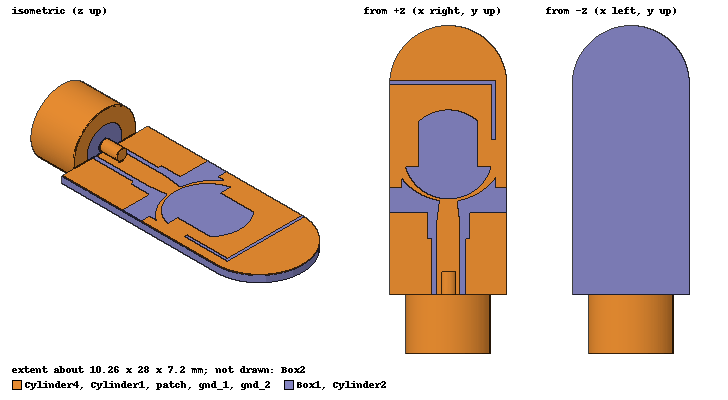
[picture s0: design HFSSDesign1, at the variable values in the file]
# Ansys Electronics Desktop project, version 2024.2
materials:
  vacuum: permittivity=1
  copper: permeability=0.999991 conductivity=58000000
  FR4_epoxy: permittivity=4.4 dielectric_loss_tangent=0.02
  Teflon (tm): permittivity=2.1 dielectric_loss_tangent=0.001

design HFSSDesign1 (HFSS, HFSS Modal Network, model units mm)
options: Save_Adaptive_support_files
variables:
  l = 9mm
  d = 0.3mm
  h = -5mm
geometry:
  Box1 [FR4_epoxy] = box(corner=(-5mm, -9mm, 0mm), size=(10mm, 18mm, 0.8mm))
  Cylinder6 = cylinder(axis=Z, base_centre=(0mm, 9mm, 0mm), radius=5mm, height=0.8mm)
  Cylinder4 [copper] = cylinder(axis=Y, base_centre=(0mm, -9mm, 1.4mm), radius=3.6mm, height=-5mm)
  Cylinder5 = cylinder(axis=Y, base_centre=(0mm, -9mm, 1.4mm), radius=2.01mm, height=-5mm)
  Cylinder1 [copper] = cylinder(axis=Y, base_centre=(0mm, -7mm, 1.4mm), radius=0.6mm, height=-7mm)
  Cylinder2 [Teflon (tm)] = cylinder(axis=Y, base_centre=(0mm, -9mm, 1.4mm), radius=2.01mm, height=-5mm)
  Cylinder3 = cylinder(axis=Y, base_centre=(0mm, -9mm, 1.4mm), radius=0.6mm, height=-5mm)
  Box2 [vacuum] = box(corner=(-30.5mm, -24mm, -25mm), size=(61mm, 68mm, 51.6mm))
  Cylinder4.subtract(Cylinder5)
  Box1.unite(Cylinder6)
  Cylinder2.subtract(Cylinder3)
  gnd_1 = rectangle(corner=(-5.5mm, -9mm, 0.8mm), x_size=4.05mm, y_size=7mm)
  Rectangle1 = rectangle(corner=(-1.2mm, -1.7mm, 0.8mm), x_size=-0.6mm, y_size=-2.5mm)
  Rectangle4 = rectangle(corner=(-5.5mm, -1.7mm, 0.8mm), x_size=0.5mm, y_size=-7.3mm)
  gnd_2 = rectangle(corner=(5.5mm, -9mm, 0.8mm), x_size=-4.05mm, y_size=7mm)
  Rectangle2 = rectangle(corner=(1.2mm, -1.7mm, 0.8mm), x_size=0.6mm, y_size=-2.5mm)
  Rectangle5 = rectangle(corner=(5.5mm, -1.7mm, 0.8mm), x_size=-0.5mm, y_size=-7.3mm)
  gnd_1.subtract(Rectangle1)
  gnd_1.subtract(Rectangle4)
  gnd_2.subtract(Rectangle2)
  gnd_2.subtract(Rectangle5)
  Circle4 = circle(normal=Y, centre=(0mm, -14mm, 1.4mm), radius=2.01mm)
  Circle5 = circle(normal=Y, centre=(0mm, -14mm, 1.4mm), radius=0.6mm)
  Circle4.subtract(Circle5)
  patch = rectangle(corner=(-1mm, -9mm, 0.8mm), x_size=2mm, y_size=9mm)
  Circle1 = circle(normal=Z, centre=(0mm, 4mm, 0.8mm), radius=5mm)
  Circle3 = circle(normal=Z, centre=(0mm, 3mm, 0.8mm), radius=3.8mm)
  Rectangle6 = rectangle(corner=(-5mm, 9mm, 0.8mm), x_size=2.5mm, y_size=-7mm)
  Rectangle7 = rectangle(corner=(5mm, 9mm, 0.8mm), x_size=-2.5mm, y_size=-7mm)
  Rectangle8 = rectangle(corner=(-2mm, 9mm, 0.8mm), x_size=4mm, y_size=-0.41742431mm)
  Circle6 = circle(normal=Z, centre=(0mm, 9mm, 0.8mm), radius=5mm)
  Polyline2 = polyline(z=0.8mm, xy in mm: (-1, -0.9) (-0.75, -0.9) (-1, -2.9) (-1, -0.9), closed, covered)
  Polyline1 = polyline(z=0.8mm, xy in mm: (1, -0.9) (0.75, -0.9) (1, -2.9) (1, -0.9), closed, covered)
  Rectangle13 = rectangle(corner=(2.5mm, 9mm, 0.8mm), x_size=-0.5mm, y_size=-1mm)
  Rectangle12 = rectangle(corner=(-2.5mm, 9mm, 0.8mm), x_size=0.5mm, y_size=-1mm)
  Rectangle9 = rectangle(corner=(-5mm, 2mm, 0.8mm), x_size=1mm, y_size=-1.8mm)
  Rectangle10 = rectangle(corner=(5mm, 2mm, 0.8mm), x_size=-1mm, y_size=-1.8mm)
  Rectangle14 = rectangle(corner=(-5mm, 9mm, 0.8mm), x_size=l, y_size=d)
  Rectangle15 = rectangle(corner=(l-5mm, 9.3mm, 0.8mm), x_size=-d, y_size=h)
  Rectangle11 = rectangle(corner=(-5mm, 9mm, 0.8mm), x_size=10mm, y_size=-5mm)
  patch.unite(Circle1)
  patch.subtract(Circle3)
  patch.unite(Rectangle6, Rectangle7)
  patch.unite(Rectangle8)
  Circle6.subtract(Rectangle11)
  patch.unite(Circle6)
  patch.subtract(Polyline1, Polyline2)
  patch.unite(Rectangle12, Rectangle13)
  patch.unite(Rectangle9, Rectangle10)
  patch.subtract(Rectangle14)
  patch.subtract(Rectangle15)
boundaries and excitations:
  PerfE1: Perfect E Objects=gnd_1
  PerfE2: Perfect E Objects=gnd_2
  PerfE3: Perfect E Objects=patch
  Rad1: Radiation Objects=Box2
  1: Lumped Port Objects=Circle4 LumpedPortType=Modal Modes{Mode1{IntLine{(0, -14, -0.61) -> (0, -14, 0.8)} CharImp=Zpi RenormImp=50ohm}} Impedance=50ohm
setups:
  Setup1: HfssDriven Frequency=10GHz MaxDeltaS=0.02 MaximumPasses=20 MinimumPasses=1 MinimumConvergedPasses=1 PercentRefinement=30 BasisOrder=1 PortAccuracy=2 DrivenSolverType="Direct Solver"
    sweep Sweep: 0.1GHz to 30GHz, 201 points; Type=Fast
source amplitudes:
  1:1: 1W 0deg
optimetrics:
  ParametricSetup1: Parametric Sim._Setups=[Setup1]
    sweep l: LIN 7mm 10mm 0.2mm
    sweep d: LIN 0.2mm 0.4mm 0.1mm
    sweep h: LIN -3mm -7mm -0.2mm
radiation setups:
  Infinite Sphere1: Infinite Sphere Theta=0deg..90deg step 90deg Phi=0deg..360deg step 2deg
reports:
  XY Plot 1: dB(S(1,1)) vs Freq on Setup1 : Sweep [l=all d=all h=all]
